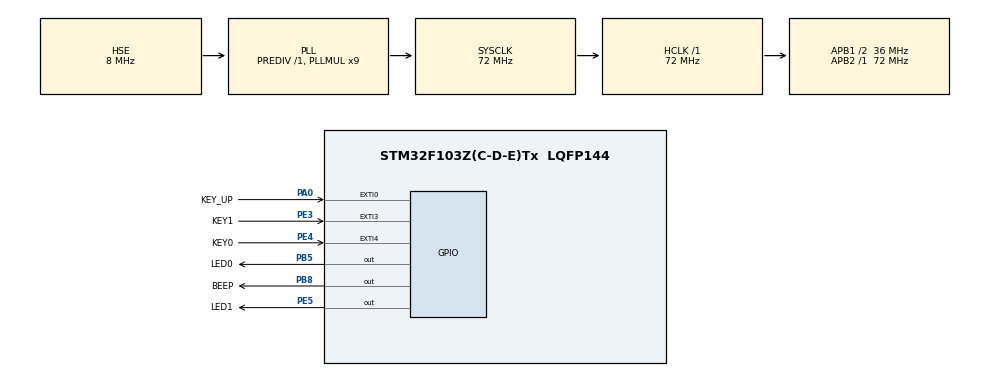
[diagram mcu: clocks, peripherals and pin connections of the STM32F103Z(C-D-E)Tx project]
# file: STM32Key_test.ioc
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Mcu.Family=STM32F1
Mcu.Name=STM32F103Z(C-D-E)Tx
Mcu.Package=LQFP144
NVIC.EXTI0_IRQn=true\:1\:0\:true\:false\:true\:true\:true\:true
NVIC.EXTI3_IRQn=true\:1\:0\:true\:false\:true\:true\:true\:true
NVIC.EXTI4_IRQn=true\:1\:0\:true\:false\:true\:true\:true\:true
NVIC.PriorityGroup=NVIC_PRIORITYGROUP_4
OSC_IN.Mode=HSE-External-Oscillator
OSC_IN.Signal=RCC_OSC_IN
OSC_OUT.Mode=HSE-External-Oscillator
OSC_OUT.Signal=RCC_OSC_OUT
PA0-WKUP.GPIO_Label=KEY_UP
PA0-WKUP.GPIO_ModeDefaultEXTI=GPIO_MODE_IT_FALLING
PA0-WKUP.GPIO_PuPd=GPIO_PULLDOWN
PA0-WKUP.Signal=GPXTI0
PA13.Mode=Serial_Wire
PA13.Signal=SYS_JTMS-SWDIO
PA14.Mode=Serial_Wire
PA14.Signal=SYS_JTCK-SWCLK
PB5.GPIO_Label=LED0
PB5.GPIO_PuPd=GPIO_NOPULL
PB5.Signal=GPIO_Output
PB8.GPIO_Label=BEEP
PB8.Signal=GPIO_Output
PC14-OSC32_IN.Mode=LSE-External-Oscillator
PC14-OSC32_IN.Signal=RCC_OSC32_IN
PC15-OSC32_OUT.Mode=LSE-External-Oscillator
PC15-OSC32_OUT.Signal=RCC_OSC32_OUT
PE3.GPIO_Label=KEY1
PE3.GPIO_ModeDefaultEXTI=GPIO_MODE_IT_FALLING
PE3.GPIO_PuPd=GPIO_PULLUP
PE3.Signal=GPXTI3
PE4.GPIO_Label=KEY0
PE4.GPIO_ModeDefaultEXTI=GPIO_MODE_IT_FALLING
PE4.GPIO_PuPd=GPIO_PULLUP
PE4.Signal=GPXTI4
PE5.GPIO_Label=LED1
PE5.Signal=GPIO_Output
ProjectManager.HeapSize=0x200
ProjectManager.StackSize=0x400
ProjectManager.TargetToolchain=MDK-ARM V5.32
RCC.AHBFreq_Value=72000000
RCC.APB1CLKDivider=RCC_HCLK_DIV2
RCC.APB1Freq_Value=36000000
RCC.APB1TimFreq_Value=72000000
RCC.APB2Freq_Value=72000000
RCC.APB2TimFreq_Value=72000000
RCC.HCLKFreq_Value=72000000
RCC.PLLMUL=RCC_PLL_MUL9
RCC.PLLSourceVirtual=RCC_PLLSOURCE_HSE
RCC.SYSCLKFreq_VALUE=72000000
RCC.SYSCLKSource=RCC_SYSCLKSOURCE_PLLCLK
RCC.USBFreq_Value=72000000
board=custom

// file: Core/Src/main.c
/* USER CODE BEGIN Header */
/**
  ******************************************************************************
  * @file           : main.c
  * @brief          : Main program body
  ******************************************************************************
  * @attention
  *
  * Copyright (c) 2025 STMicroelectronics.
  * All rights reserved.
  *
  * This software is licensed under terms that can be found in the LICENSE file
  * in the root directory of this software component.
  * If no LICENSE file comes with this software, it is provided AS-IS.
  *
  ******************************************************************************
  */
/* USER CODE END Header */
#include "main.h"

/* USER CODE BEGIN PD */
#define LED0_GPIO        GPIOB, GPIO_PIN_5
#define LED0_Toggle      HAL_GPIO_TogglePin(LED0_GPIO)
#define LED0_OFF         HAL_GPIO_WritePin(LED0_GPIO, GPIO_PIN_SET)
#define LED0_ON          HAL_GPIO_WritePin(LED0_GPIO, GPIO_PIN_RESET)

#define LED1_GPIO        GPIOE, GPIO_PIN_5
#define LED1_Toggle      HAL_GPIO_TogglePin(LED1_GPIO)
#define LED1_OFF         HAL_GPIO_WritePin(LED1_GPIO, GPIO_PIN_SET)
#define LED1_ON          HAL_GPIO_WritePin(LED1_GPIO, GPIO_PIN_RESET)

#define BEEP_GPIO        GPIOB, GPIO_PIN_8
#define BEEP_Toggle      HAL_GPIO_TogglePin(BEEP_GPIO)
#define BEEP_OFF         HAL_GPIO_WritePin(BEEP_GPIO, GPIO_PIN_RESET)
#define BEEP_ON          HAL_GPIO_WritePin(BEEP_GPIO, GPIO_PIN_SET)

#define KEY0_GPIO_PIN    GPIO_PIN_4
#define KEY0             HAL_GPIO_ReadPin(GPIOE, KEY0_GPIO_PIN)
#define KEY0_OFF         GPIO_PIN_RESET
#define KEY0_ON          GPIO_PIN_SET

#define KEY1_GPIO_PIN    GPIO_PIN_3
#define KEY1             HAL_GPIO_ReadPin(GPIOE, KEY1_GPIO_PIN)
#define KEY1_OFF         GPIO_PIN_RESET
#define KEY1_ON          GPIO_PIN_SET

#define KEY_UP_GPIO_PIN    GPIO_PIN_0
#define KEY_UP             HAL_GPIO_ReadPin(GPIOA, KEY_UP_GPIO_PIN)
#define KEY_UP_OFF         GPIO_PIN_SET
#define KEY_UP_ON          GPIO_PIN_RESET

/* USER CODE END PD */

void SystemClock_Config(void);
static void MX_GPIO_Init(void);

int main(void)
{

  /* MCU Configuration--------------------------------------------------------*/

  /* Reset of all peripherals, Initializes the Flash interface and the Systick. */
  HAL_Init();

  /* Configure the system clock */
  SystemClock_Config();

  /* Initialize all configured peripherals */
  MX_GPIO_Init();
  /* USER CODE BEGIN 2 */
  LED0_OFF;
  LED1_OFF;
  BEEP_OFF;

  /* USER CODE END 2 */

  /* Infinite loop */
  while (1)
  {

  }
}

void SystemClock_Config(void)
{
  RCC_OscInitTypeDef RCC_OscInitStruct = {0};
  RCC_ClkInitTypeDef RCC_ClkInitStruct = {0};

  /** Initializes the RCC Oscillators according to the specified parameters
  * in the RCC_OscInitTypeDef structure.
  */
  RCC_OscInitStruct.OscillatorType = RCC_OSCILLATORTYPE_HSE;
  RCC_OscInitStruct.HSEState = RCC_HSE_ON;
  RCC_OscInitStruct.HSEPredivValue = RCC_HSE_PREDIV_DIV1;
  RCC_OscInitStruct.HSIState = RCC_HSI_ON;
  RCC_OscInitStruct.PLL.PLLState = RCC_PLL_ON;
  RCC_OscInitStruct.PLL.PLLSource = RCC_PLLSOURCE_HSE;
  RCC_OscInitStruct.PLL.PLLMUL = RCC_PLL_MUL9;
  if (HAL_RCC_OscConfig(&RCC_OscInitStruct) != HAL_OK)
  {
    Error_Handler();
  }

  /** Initializes the CPU, AHB and APB buses clocks
  */
  RCC_ClkInitStruct.ClockType = RCC_CLOCKTYPE_HCLK|RCC_CLOCKTYPE_SYSCLK
                              |RCC_CLOCKTYPE_PCLK1|RCC_CLOCKTYPE_PCLK2;
  RCC_ClkInitStruct.SYSCLKSource = RCC_SYSCLKSOURCE_PLLCLK;
  RCC_ClkInitStruct.AHBCLKDivider = RCC_SYSCLK_DIV1;
  RCC_ClkInitStruct.APB1CLKDivider = RCC_HCLK_DIV2;
  RCC_ClkInitStruct.APB2CLKDivider = RCC_HCLK_DIV1;

  if (HAL_RCC_ClockConfig(&RCC_ClkInitStruct, FLASH_LATENCY_2) != HAL_OK)
  {
    Error_Handler();
  }
}

static void MX_GPIO_Init(void)
{
  GPIO_InitTypeDef GPIO_InitStruct = {0};

  /* GPIO Ports Clock Enable */
  __HAL_RCC_GPIOE_CLK_ENABLE();
  __HAL_RCC_GPIOC_CLK_ENABLE();
  __HAL_RCC_GPIOA_CLK_ENABLE();
  __HAL_RCC_GPIOB_CLK_ENABLE();

  /*Configure GPIO pin Output Level */
  HAL_GPIO_WritePin(GPIOE, GPIO_PIN_5, GPIO_PIN_RESET);

  /*Configure GPIO pin Output Level */
  HAL_GPIO_WritePin(GPIOB, GPIO_PIN_5|GPIO_PIN_8, GPIO_PIN_RESET);

  /*Configure GPIO pins : PE3 PE4 */
  GPIO_InitStruct.Pin = GPIO_PIN_3|GPIO_PIN_4;
  GPIO_InitStruct.Mode = GPIO_MODE_IT_FALLING;
  GPIO_InitStruct.Pull = GPIO_PULLUP;
  HAL_GPIO_Init(GPIOE, &GPIO_InitStruct);

  /*Configure GPIO pin : PE5 */
  GPIO_InitStruct.Pin = GPIO_PIN_5;
  GPIO_InitStruct.Mode = GPIO_MODE_OUTPUT_PP;
  GPIO_InitStruct.Pull = GPIO_NOPULL;
  GPIO_InitStruct.Speed = GPIO_SPEED_FREQ_LOW;
  HAL_GPIO_Init(GPIOE, &GPIO_InitStruct);

  /*Configure GPIO pin : PA0 */
  GPIO_InitStruct.Pin = GPIO_PIN_0;
  GPIO_InitStruct.Mode = GPIO_MODE_IT_FALLING;
  GPIO_InitStruct.Pull = GPIO_PULLDOWN;
  HAL_GPIO_Init(GPIOA, &GPIO_InitStruct);

  /*Configure GPIO pins : PB5 PB8 */
  GPIO_InitStruct.Pin = GPIO_PIN_5|GPIO_PIN_8;
  GPIO_InitStruct.Mode = GPIO_MODE_OUTPUT_PP;
  GPIO_InitStruct.Pull = GPIO_NOPULL;
  GPIO_InitStruct.Speed = GPIO_SPEED_FREQ_LOW;
  HAL_GPIO_Init(GPIOB, &GPIO_InitStruct);

  /* EXTI interrupt init*/
  HAL_NVIC_SetPriority(EXTI0_IRQn, 1, 0);
  HAL_NVIC_EnableIRQ(EXTI0_IRQn);

  HAL_NVIC_SetPriority(EXTI3_IRQn, 1, 0);
  HAL_NVIC_EnableIRQ(EXTI3_IRQn);

  HAL_NVIC_SetPriority(EXTI4_IRQn, 1, 0);
  HAL_NVIC_EnableIRQ(EXTI4_IRQn);

}

/* USER CODE BEGIN 4 */
/* 中断回调函数 */
void HAL_GPIO_EXTI_Callback (uint16_t GPIO_Pin)
{
    if (GPIO_Pin == KEY0_GPIO_PIN)
	{
		HAL_Delay(20); // 防抖检测延时，属于阻塞方式
		if (KEY0 == KEY0_ON)
			LED0_Toggle;
		__HAL_GPIO_EXTI_CLEAR_IT(KEY0_GPIO_PIN); // 清除标志位，可有可无
	}

	if (GPIO_Pin == KEY1_GPIO_PIN)
	{
		HAL_Delay(20);
		if (KEY1 == KEY1_ON)
			LED1_Toggle;
		__HAL_GPIO_EXTI_CLEAR_IT(KEY1_GPIO_PIN);
	}

	if (GPIO_Pin == KEY_UP_GPIO_PIN)
	{
		HAL_Delay(20);
		if (KEY_UP == KEY_UP_ON)
			BEEP_Toggle;
		__HAL_GPIO_EXTI_CLEAR_IT(KEY_UP_GPIO_PIN);
	}
}

/* USER CODE END 4 */

void Error_Handler(void)
{
  __disable_irq();
  while (1)
  {
  }
}
